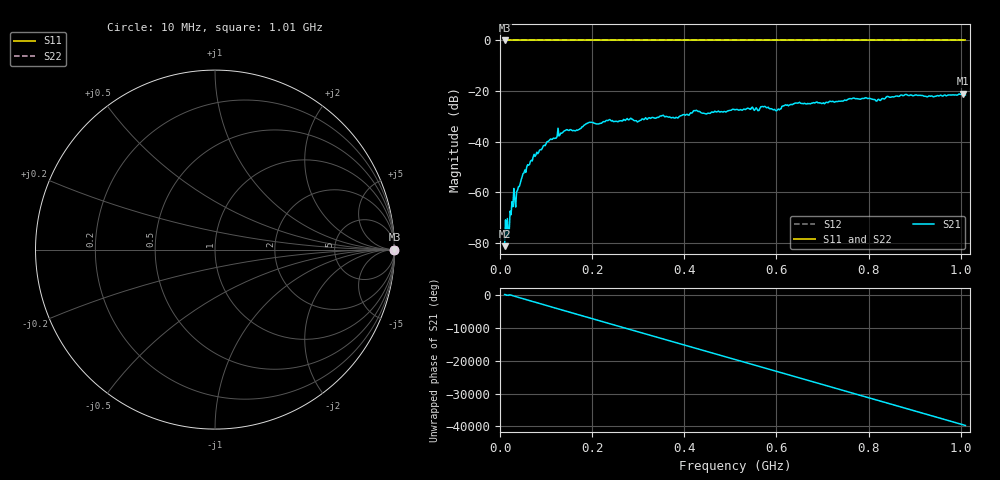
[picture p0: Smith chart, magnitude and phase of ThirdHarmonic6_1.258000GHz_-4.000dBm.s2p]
! 8/16/2025 1:30:03 PM
! C:\ANRITSUVNA\TEMP\TEMP.S2P
! CHANNEL.1
! TR.MEASUREMENT
! RAW.DATA
! RF.CORRECTION.OFF
! AVERAGING.OFF
! IF.BANDWIDTH: 5KHZ
! SWEEPTYPE:  FREQ.SWEEP(Linear)
! Reference Plane Port Info
! PORT:  PORT1  PORT2
! DISTANCE:  0  m  0  m
! TIME:  0  s  0  s
! PHASE.OFFSET:  0  deg.  0  deg.
! LOSS:  0  dB  0  dB
! REF.LOSS:  0  dB  0  dB
! REF.FREQ:  0  Hz  0  Hz
! Power Info
! POWER:  -20  dBm  -20  dBm
! EFF.POWER:  -20  dBm  -20  dBm
! SOURCE.ATTEN:  0  dB  0  dB
! TEST.ATTEN:  0  dB  0  dB
# GHZ S RI R 50.0
! FREQ.GHZ  S11RE  S11IM  S21RE  S21IM  S12RE  S12IM  S22RE  S22IM
!; PortSelection: Port_12
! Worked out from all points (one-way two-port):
!   501 points, 10 MHz to 1.01 GHz, reference 50 ohm
!   highest |S21| = -21.11 dB at 1.004 GHz (marker M1); lowest = -81.4 dB at 10 MHz (marker M2)
!   lowest |S11| = 0.0 dB at 10 MHz (marker M3)
!   |S11| at or under -10 dB: nowhere
!   |S22| runs from 0.0 to 0.0 dB; largest |S21 - S12| = 1.1
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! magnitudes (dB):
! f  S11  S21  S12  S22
! 10 MHz  0.0  -81.4  0.0  0.0
! 22 MHz  0.0  -67.5  0.0  0.0
! 26 MHz  0.0  -63.8  0.0  0.0
! 36 MHz  0.0  -60.0  0.0  0.0
! 50 MHz  0.0  -52.7  0.0  0.0
! 70 MHz  0.0  -47.7  0.0  0.0
! 106 MHz  0.0  -39.8  0.0  0.0
! 130 MHz  0.0  -37.4  0.0  0.0
! 178 MHz  0.0  -34.2  0.0  0.0
! 196 MHz  0.0  -32.4  0.0  0.0
! 344 MHz  0.0  -30.4  0.0  0.0
! 382 MHz  0.0  -30.4  0.0  0.0
! 424 MHz  0.0  -27.8  0.0  0.0
! 448 MHz  0.0  -29.1  0.0  0.0
! 510 MHz  0.0  -27.4  0.0  0.0
! 572 MHz  0.0  -26.3  0.0  0.0
! 602 MHz  0.0  -27.4  0.0  0.0
! 642 MHz  0.0  -24.8  0.0  0.0
! 678 MHz  0.0  -24.8  0.0  0.0
! 844 MHz  0.0  -22.3  0.0  0.0
! 1.004 GHz  0.0  -21.1  0.0  0.0
! 1.01 GHz  0.0  -21.6  0.0  0.0
